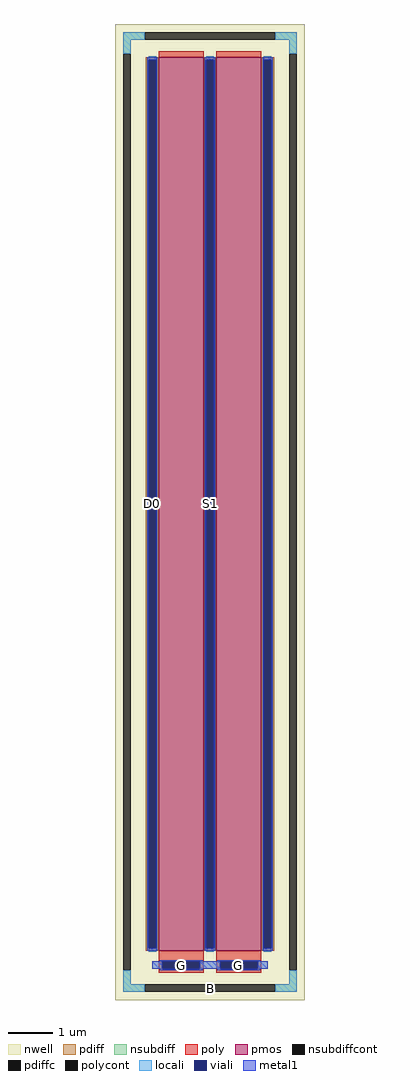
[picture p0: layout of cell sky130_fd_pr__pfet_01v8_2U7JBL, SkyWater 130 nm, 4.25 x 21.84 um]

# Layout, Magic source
magic
tech sky130A
magscale 1 2
<< nwell >>
rect -425 -2184 425 2184
<< pmos >>
rect -229 -1964 -29 2036
rect 29 -1964 229 2036
<< pdiff >>
rect -287 2024 -229 2036
rect -287 -1952 -275 2024
rect -241 -1952 -229 2024
rect -287 -1964 -229 -1952
rect -29 2024 29 2036
rect -29 -1952 -17 2024
rect 17 -1952 29 2024
rect -29 -1964 29 -1952
rect 229 2024 287 2036
rect 229 -1952 241 2024
rect 275 -1952 287 2024
rect 229 -1964 287 -1952
<< pdiffc >>
rect -275 -1952 -241 2024
rect -17 -1952 17 2024
rect 241 -1952 275 2024
<< nsubdiff >>
rect -389 2114 -293 2148
rect 293 2114 389 2148
rect -389 2051 -355 2114
rect 355 2051 389 2114
rect -389 -2114 -355 -2051
rect 355 -2114 389 -2051
rect -389 -2148 -293 -2114
rect 293 -2148 389 -2114
<< nsubdiffcont >>
rect -293 2114 293 2148
rect -389 -2051 -355 2051
rect 355 -2051 389 2051
rect -293 -2148 293 -2114
<< poly >>
rect -229 2036 -29 2062
rect 29 2036 229 2062
rect -229 -2011 -29 -1964
rect -229 -2045 -213 -2011
rect -45 -2045 -29 -2011
rect -229 -2061 -29 -2045
rect 29 -2011 229 -1964
rect 29 -2045 45 -2011
rect 213 -2045 229 -2011
rect 29 -2061 229 -2045
<< polycont >>
rect -213 -2045 -45 -2011
rect 45 -2045 213 -2011
<< locali >>
rect -389 2114 -293 2148
rect 293 2114 389 2148
rect -389 2051 -355 2114
rect 355 2051 389 2114
rect -275 2024 -241 2040
rect -275 -1968 -241 -1952
rect -17 2024 17 2040
rect -17 -1968 17 -1952
rect 241 2024 275 2040
rect 241 -1968 275 -1952
rect -258 -2045 -213 -2011
rect -45 -2045 45 -2011
rect 213 -2045 258 -2011
rect -389 -2114 -355 -2051
rect 355 -2114 389 -2051
rect -389 -2148 -293 -2114
rect 293 -2148 389 -2114
<< viali >>
rect -275 -1952 -241 2024
rect -17 -1952 17 2024
rect 241 -1952 275 2024
rect -213 -2045 -45 -2011
rect 45 -2045 213 -2011
<< metal1 >>
rect -281 2024 -235 2036
rect -281 -1952 -275 2024
rect -241 -1952 -235 2024
rect -281 -1964 -235 -1952
rect -23 2024 23 2036
rect -23 -1952 -17 2024
rect 17 -1952 23 2024
rect -23 -1964 23 -1952
rect 235 2024 281 2036
rect 235 -1952 241 2024
rect 275 -1952 281 2024
rect 235 -1964 281 -1952
rect -225 -2011 -33 -2005
rect 33 -2011 225 -2005
rect -258 -2045 -213 -2011
rect -45 -2045 45 -2011
rect 213 -2045 258 -2011
rect -225 -2051 -33 -2045
rect 33 -2051 225 -2045
<< labels >>
rlabel nsubdiffcont 0 -2131 0 -2131 0 B
port 1 nsew
rlabel pdiffc -258 36 -258 36 0 D0
port 2 nsew
rlabel polycont -129 -2028 -129 -2028 0 G
port 3 nsew
rlabel pdiffc 0 36 0 36 0 S1
port 4 nsew
rlabel polycont 129 -2028 129 -2028 0 G
port 3 nsew
<< properties >>
string FIXED_BBOX -372 -2131 372 2131
string gencell sky130_fd_pr__pfet_01v8
string library sky130
string parameters w 20.0 l 1.0 m 1 nf 2 diffcov 100 polycov 100 guard 1 glc 1 grc 1 gtc 1 gbc 1 tbcov 100 rlcov 100 topc 0 botc 1 poverlap 0 doverlap 1 lmin 0.15 wmin 0.42 class mosfet compatible {sky130_fd_pr__pfet_01v8  sky130_fd_pr__pfet_01v8_lvt sky130_fd_pr__pfet_01v8_hvt  sky130_fd_pr__pfet_g5v0d10v5} full_metal 1 conn_gates 1 viasrc 100 viadrn 100 viagate 100 viagb 0 viagr 0 viagl 0 viagt 0 doports 1
<< end >>
